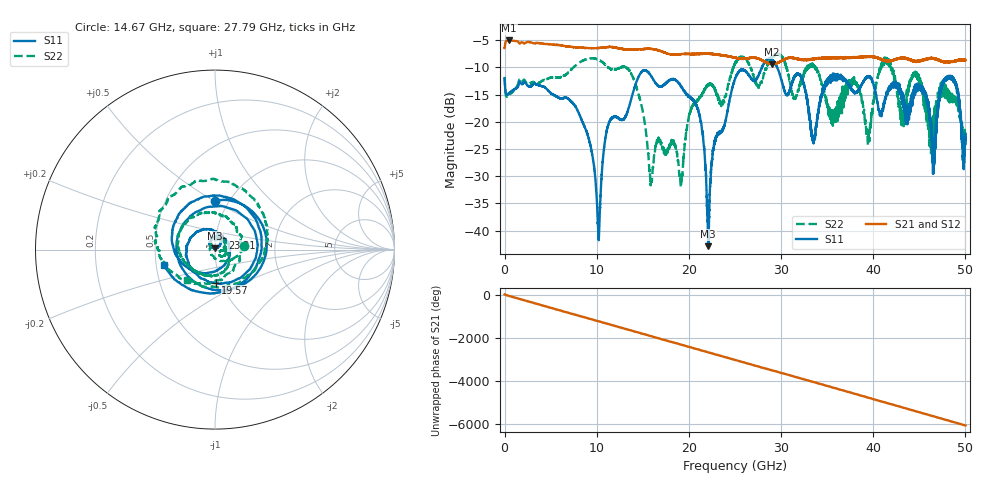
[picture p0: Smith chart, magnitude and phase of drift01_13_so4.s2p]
!Created with skrf (http://scikit-rf.org).
# Hz S RI R 50.0
!freq ReS11 ImS11 ReS21 ImS21 ReS12 ImS12 ReS22 ImS22
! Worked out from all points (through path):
!   10001 points, 300 kHz to 50 GHz, reference 50 ohm
!   highest |S21| = -5.05 dB at 490.3 MHz (marker M1); lowest = -9.4 dB at 29.03 GHz (marker M2)
!   group delay of S21, straight-line fit = 336 ps
!   lowest |S11| = -42.9 dB at 22.09 GHz (marker M3), VSWR 1.01, Z = 49.9 + j0.704 ohm
!   |S11| at or under -10 dB: start of sweep to 27.92 GHz; 29.59 GHz to end of sweep
!   |S22| runs from -32.0 to -7.5 dB; largest |S21 - S12| = 0.011
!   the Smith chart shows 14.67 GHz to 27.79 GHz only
!   S11 on the Smith chart (normalised r, x): 14.67 GHz: 0.86, +0.51; 19.57 GHz: 0.94, -0.36; 23.21 GHz: 1.08, +0.14; 27.79 GHz: 0.55, -0.10
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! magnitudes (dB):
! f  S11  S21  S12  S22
! 300 kHz  -12.1  -6.5  -6.5  -11.7
! 490.3 MHz  -14.7  -5.1  -5.1  -15.1
! 8.335 GHz  -19.5  -6.4  -6.4  -8.9
! 10.2 GHz  -41.1  -6.5  -6.4  -8.6
! 11.23 GHz  -20.7  -6.3  -6.3  -10.0
! 14.67 GHz  -11.3  -6.7  -6.7  -15.7
! 15.87 GHz  -11.5  -6.6  -6.6  -31.5
! 16.67 GHz  -13.4  -6.9  -6.9  -23.2
! 19.57 GHz  -14.6  -7.5  -7.5  -23.9
! 21.2 GHz  -19.1  -7.5  -7.5  -15.6
! 22.09 GHz  -42.9  -7.5  -7.5  -13.2
! 23.21 GHz  -22.3  -7.7  -7.7  -15.8
! 25 GHz  -12.1  -8.2  -8.3  -9.5
! 27.79 GHz  -10.5  -8.6  -8.6  -12.8
! 29.03 GHz  -8.6  -9.4  -9.4  -8.3
! 33.34 GHz  -22.7  -8.5  -8.5  -9.6
! 39.47 GHz  -11.7  -8.1  -8.0  -22.7
! 41.67 GHz  -13.9  -8.8  -8.8  -9.0
! 45.47 GHz  -13.9  -8.6  -8.6  -16.0
! 46.56 GHz  -25.9  -8.4  -8.3  -20.7
! 48.5 GHz  -11.6  -8.9  -8.9  -15.6
! 50 GHz  -22.2  -8.7  -8.7  -22.7
